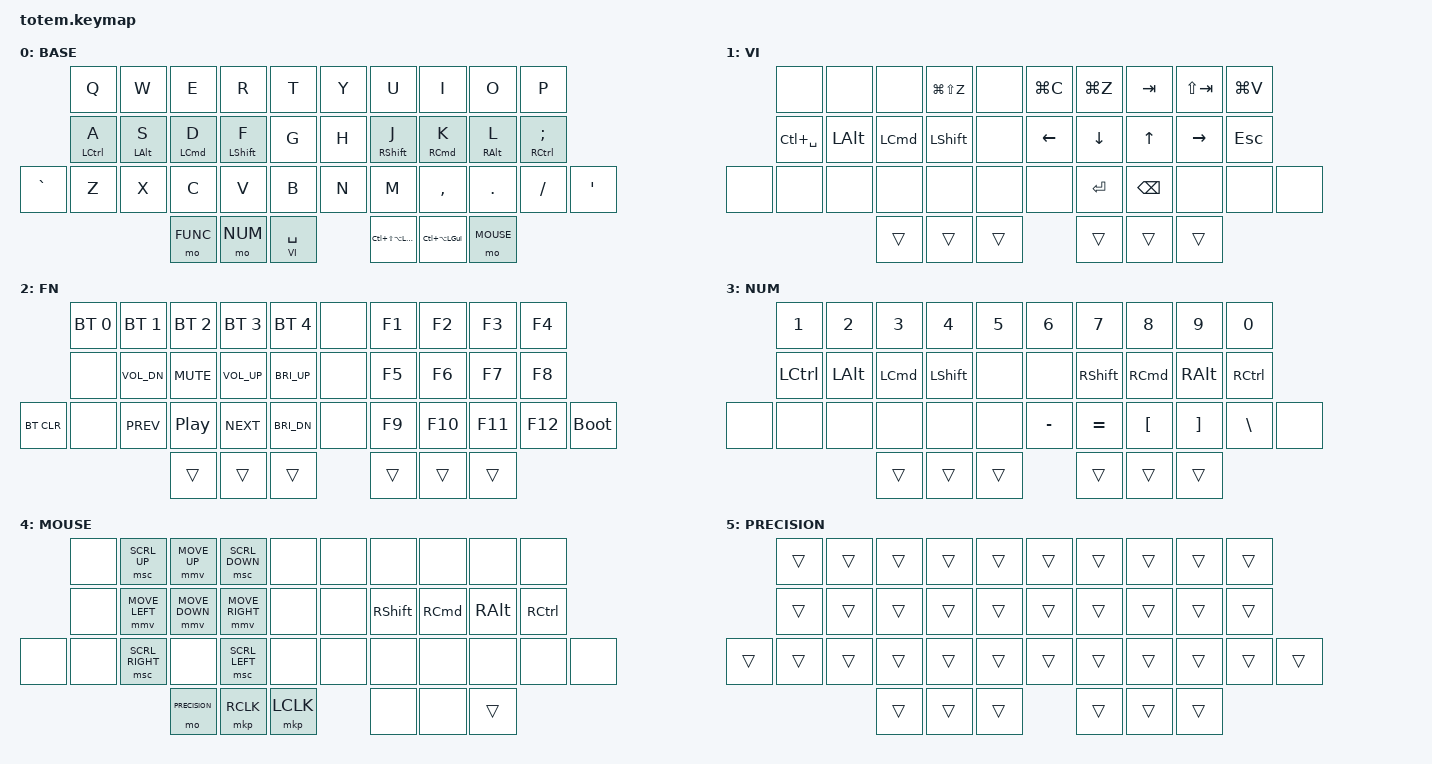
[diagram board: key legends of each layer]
#include <behaviors.dtsi>
#include <input/processors.dtsi>
#include <dt-bindings/zmk/bt.h>
#include <dt-bindings/zmk/keys.h>

#define ZMK_POINTING_DEFAULT_MOVE_VAL 950
#define ZMK_POINTING_DEFAULT_SCRL_VAL 13
#include <dt-bindings/zmk/pointing.h>

#define LOPT LALT
#define ROPT RALT

#define BASE      0
#define VI        1
#define FUNC      2
#define NUM       3
#define MOUSE     4
#define PRECISION 5

&mmv {
    trigger-period-ms = <8>;
    time-to-max-speed-ms = <300>;
};

&mmv_input_listener {
    precision {
        layers = <PRECISION>;
        input-processors = <&zip_xy_scaler 2 3>;
    };
};

&msc_input_listener {
    precision {
        layers = <PRECISION>;
        input-processors = <&zip_scroll_scaler 2 3>;
    };
};

/ {
    behaviors {
        hml: homerow_mod_left {
            compatible = "zmk,behavior-hold-tap";
            #binding-cells = <2>;
            flavor = "balanced";
            tapping-term-ms = <250>;
            bindings = <&kp>, <&kp>;
            hold-trigger-key-positions = <
                5 6 7 8 9
                15 16 17 18 19
                26 27 28 29 30 31
                32 33 34 35 36 37
            >;
            hold-trigger-on-release;
        };

        hmr: homerow_mod_right {
            compatible = "zmk,behavior-hold-tap";
            #binding-cells = <2>;
            flavor = "balanced";
            tapping-term-ms = <250>;
            bindings = <&kp>, <&kp>;
            hold-trigger-key-positions = <
                0 1 2 3 4
                10 11 12 13 14
                20 21 22 23 24 25
                32 33 34 35 36 37
            >;
            hold-trigger-on-release;
        };

        vi_spc: vi_space {
            compatible = "zmk,behavior-hold-tap";
            #binding-cells = <2>;
            flavor = "balanced";
            tapping-term-ms = <250>;
            bindings = <&mo>, <&kp>;
        };
    };

    keymap {
        compatible = "zmk,keymap";

        base {
            display-name = "BASE";
            bindings = <
                &kp Q            &kp W            &kp E            &kp R            &kp T             &kp Y                    &kp U              &kp I            &kp O            &kp P
                &hml LCTRL A     &hml LOPT S      &hml LCMD D      &hml LSHFT F     &kp G             &kp H                    &hmr RSHFT J       &hmr RCMD K      &hmr ROPT L      &hmr RCTRL SEMI
&kp GRAVE       &kp Z            &kp X            &kp C            &kp V            &kp B             &kp N                    &kp M              &kp COMMA        &kp DOT          &kp FSLH         &kp APOS
                                                   &mo FUNC          &mo NUM           &vi_spc VI SPACE                            &kp LC(LS(LA(LGUI))) &kp LC(LA(LGUI)) &mo MOUSE
            >;
        };

        vi_layer {
            display-name = "VI";
            bindings = <
                &none            &none            &none            &kp LG(LS(Z))    &none             &kp LG(C)                &kp LG(Z)          &kp TAB          &kp LS(TAB)      &kp LG(V)
                &kp LC(SPACE)    &kp LOPT         &kp LCMD         &kp LSHFT        &none             &kp LEFT                 &kp DOWN           &kp UP           &kp RIGHT        &kp ESC
&none           &none            &none            &none            &none            &none             &none                     &kp RET            &kp BSPC         &none            &none            &none
                                                   &trans           &trans           &trans                                      &trans             &trans           &trans
            >;
        };

        function_layer {
            display-name = "FN";
            bindings = <
                &bt BT_SEL 0     &bt BT_SEL 1     &bt BT_SEL 2     &bt BT_SEL 3     &bt BT_SEL 4      &none                    &kp F1            &kp F2          &kp F3          &kp F4
                &none            &kp C_VOL_DN     &kp C_MUTE       &kp C_VOL_UP     &kp C_BRI_UP      &none                    &kp F5            &kp F6          &kp F7          &kp F8
&bt BT_CLR      &none            &kp C_PREV       &kp C_PP         &kp C_NEXT       &kp C_BRI_DN      &none                    &kp F9            &kp F10         &kp F11         &kp F12         &bootloader
                                                   &trans           &trans           &trans                                     &trans            &trans          &trans
            >;
        };

        num_layer {
            display-name = "NUM";
            bindings = <
                &kp N1           &kp N2           &kp N3           &kp N4           &kp N5            &kp N6                   &kp N7             &kp N8           &kp N9           &kp N0
                &kp LCTRL        &kp LOPT         &kp LCMD         &kp LSHFT        &none             &none                     &kp RSHFT          &kp RCMD         &kp ROPT         &kp RCTRL
&none           &none            &none            &none            &none            &none            &kp MINUS                &kp EQUAL         &kp LBKT         &kp RBKT         &kp BSLH         &none
                                                   &trans           &trans           &trans                                      &trans             &trans           &trans
            >;
        };

        mouse_layer {
            display-name = "MOUSE";
            bindings = <
                &none            &msc SCRL_UP     &mmv MOVE_UP     &msc SCRL_DOWN   &none             &none                     &none              &none            &none            &none
                &none            &mmv MOVE_LEFT   &mmv MOVE_DOWN   &mmv MOVE_RIGHT  &none             &none                     &kp RSHFT          &kp RCMD         &kp ROPT         &kp RCTRL
&none           &none            &msc SCRL_RIGHT  &none            &msc SCRL_LEFT   &none             &none                     &none              &none            &none            &none            &none
                                                   &mo PRECISION    &mkp RCLK        &mkp LCLK                                  &none              &none            &trans
            >;
        };

        precision_layer {
            display-name = "PRECISION";
            bindings = <
                &trans           &trans           &trans           &trans           &trans            &trans                    &trans             &trans           &trans           &trans
                &trans           &trans           &trans           &trans           &trans            &trans                    &trans             &trans           &trans           &trans
&trans          &trans           &trans           &trans           &trans           &trans            &trans                    &trans             &trans           &trans           &trans           &trans
                                                   &trans           &trans           &trans                                     &trans             &trans           &trans
            >;
        };


    };
};
